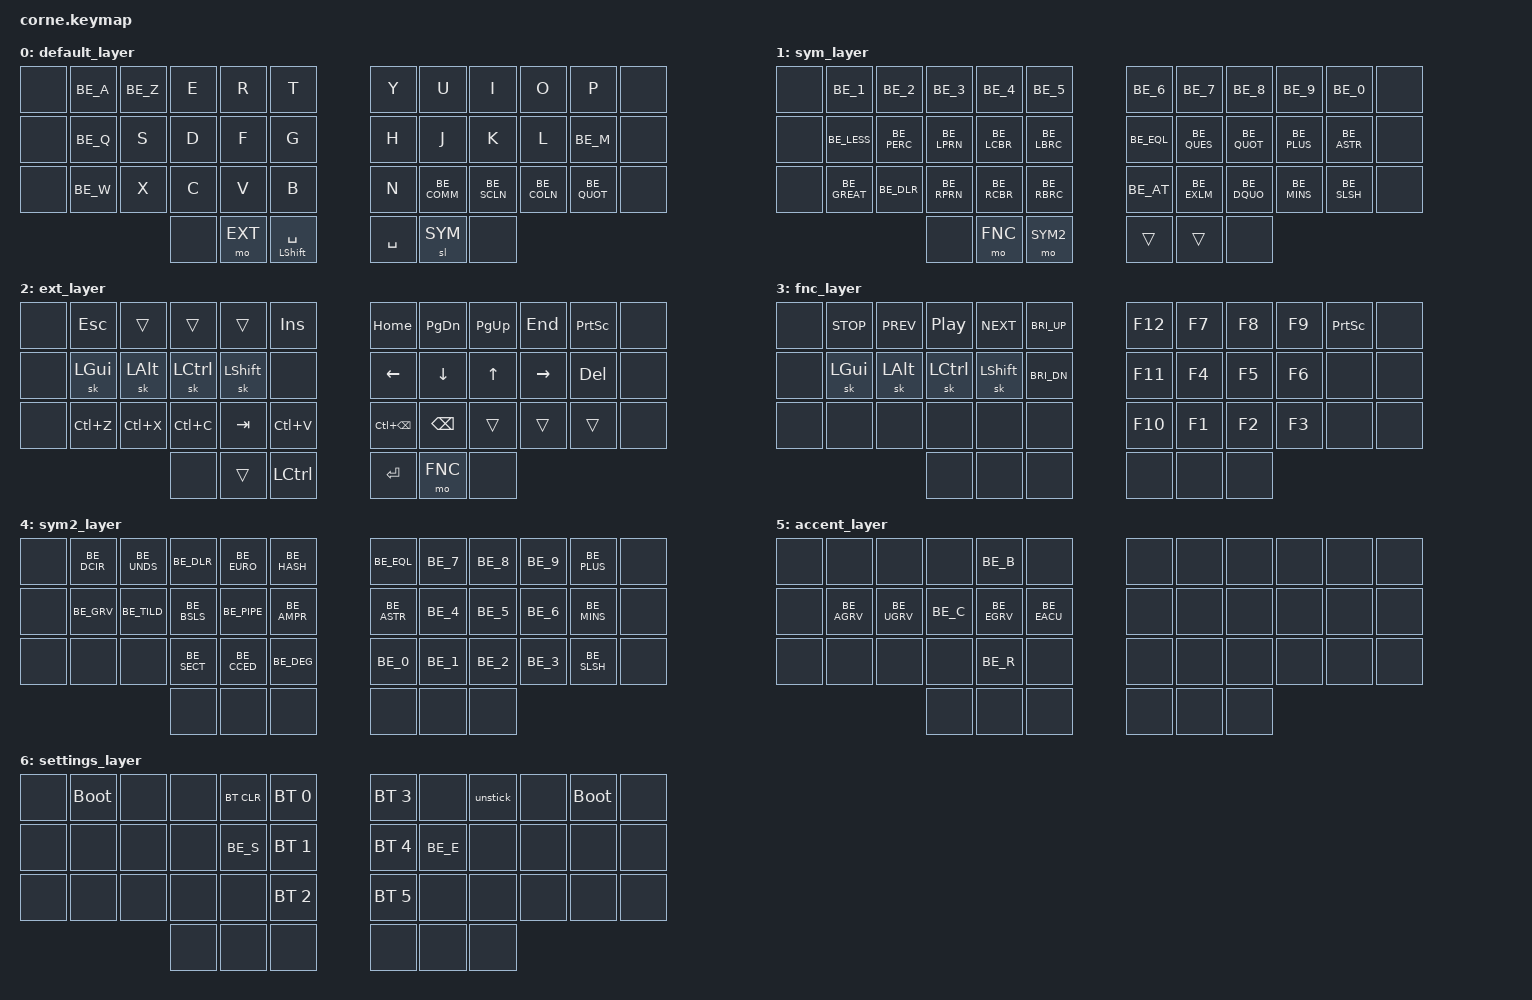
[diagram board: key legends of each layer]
/*
* Copyright (c) 2020 The ZMK Contributors
*

* SPDX-License-Identifier: MIT
*/

#include <behaviors.dtsi>
#include <dt-bindings/zmk/bt.h>
#include <dt-bindings/zmk/keys.h>
#include <dt-bindings/zmk/outputs.h>
#include "keymap_belgian.h"

// Layer definitions
    #define BASE 0
    #define SYM 1
    #define EXT 2
    #define FNC 3
    #define SYM2 4
    #define ACCENT 5
    #define SETTINGS 6
// -----------------

&mt {
   //  flavor = "tap-preferred";
   // tapping_term_ms = <200>;
};

&sk {
    ignore-modifiers;
};

/ {
    macros {
        // sometimes my device thinks a modifier is being held down
        // pressing all modifiers fixes it.
        unstick: unstick {
            label = "ZM_unstick";
            compatible = "zmk,behavior-macro";
            #binding-cells = <0>;
            bindings
                = <&kp LSHIFT &kp RSHIFT &kp LCTRL &kp RCTRL &kp LALT &kp RALT &kp LGUI &kp RGUI>;
        };
    };
        
    //conditional_layers {
    //    compatible = "zmk,conditional-layers";
    //    fnc_layer {
    //        if-layers = <SYM EXT>;
    //        then-layer = <FNC>;
    //    };
    //};
    
    combos {
        compatible = "zmk,combos";
        // both right thumb keys
        combo_accent {
            timeout-ms = <300>;
            key-positions = <40 41>;
            bindings = <&mo ACCENT>;
        };
        // internal-left & external-right thumb keys
        combo_sym2 {
              timeout-ms = <200>;
              key-positions = <39 41>;
              bindings = <&mo SYM2>;
        };
        // both left thumb keys
        combo_settings {
          timeout-ms = <300>;
          key-positions = <38 39>;
          bindings = <&mo SETTINGS>;
        };
    };

    keymap {
        compatible = "zmk,keymap";

        // Base alpha layer
        default_layer {
            bindings = <
            &none &kp BE_A &kp BE_Z &kp E &kp R &kp T        &kp Y &kp U  &kp I     &kp O   &kp P &none 
            &none &kp BE_Q &kp S &kp D &kp F &kp G           &kp H &kp J  &kp K     &kp L &kp BE_M   &none  
            &none &kp BE_W &kp X &kp C &kp V &kp B           &kp N &kp BE_COMM  &kp BE_SCLN &kp BE_COLN &kp BE_QUOT &none
                 &none &mo EXT &mt LSHIFT SPACE           &kp SPACE &sl SYM &none
            >;
        };

        sym_layer {
            bindings = <
            &none &kp BE_1 &kp BE_2 &kp BE_3 &kp BE_4 &kp BE_5                  &kp BE_6  &kp BE_7  &kp BE_8 &kp BE_9 &kp BE_0 &none
            &none &kp BE_LESS &kp BE_PERC &kp BE_LPRN &kp BE_LCBR &kp BE_LBRC         &kp BE_EQL &kp BE_QUES &kp BE_QUOT &kp BE_PLUS &kp BE_ASTR &none
            &none &kp BE_GREAT &kp BE_DLR  &kp BE_RPRN &kp BE_RCBR &kp BE_RBRC         &kp BE_AT &kp BE_EXLM &kp BE_DQUO &kp BE_MINS &kp BE_SLSH &none
                                                           &none  &mo FNC &mo SYM2       &trans &trans &none
            >;
        };

        // Main modifiers and arrow keys
        ext_layer {
            bindings = <
            &none &kp ESC  &trans &trans  &trans  &kp INSERT                    &kp HOME  &kp PG_DN &kp PG_UP &kp END &kp PSCRN &none 
            &none &sk LGUI &sk LALT  &sk LCTRL  &sk LSHIFT  &none               &kp LEFT &kp DOWN &kp UP &kp RIGHT &kp DEL &none
            &none &kp LC(Z)  &kp LC(X) &kp LC(C) &kp TAB  &kp LC(V)             &kp LC(BSPC) &kp BSPC &trans &trans &trans &none
                                                &none &trans &kp LCTRL          &kp ENTER  &mo FNC &none
            >;
        };

        // Function keys with modifiers
        fnc_layer {
            bindings = <
            &none &kp C_STOP &kp C_PREV &kp C_PP &kp C_NEXT &kp C_BRI_UP      &kp F12 &kp F7 &kp F8 &kp F9 &kp PSCRN &none
            &none &sk LGUI &sk LALT &sk LCTRL &sk LSHIFT &kp C_BRI_DN         &kp F11 &kp F4 &kp F5 &kp F6 &none &none
            &none &none &none &none &none &none                               &kp F10 &kp F1 &kp F2 &kp F3 &none &none
                                       &none &none &none              &none &none  &none
            >;
        };

        // Low frequency symbols.
        sym2_layer {
            bindings = <
            &none &kp BE_DCIR &kp BE_UNDS &kp BE_DLR &kp BE_EURO &kp BE_HASH     &kp BE_EQL &kp BE_7 &kp BE_8 &kp BE_9 &kp BE_PLUS  &none
            &none &kp BE_GRV &kp BE_TILD &kp BE_BSLS &kp BE_PIPE &kp BE_AMPR     &kp BE_ASTR &kp BE_4 &kp BE_5 &kp BE_6 &kp BE_MINS &none
            &none &none &none &kp BE_SECT &kp BE_CCED &kp BE_DEG                 &kp BE_0 &kp BE_1 &kp BE_2 &kp BE_3 &kp BE_SLSH &none
                                 &none &none &none                         &none &none &none
            >;
        };
        
        // Used to type regional accents.
        accent_layer {
          bindings = <
          &none &none &none &none &kp BE_B &none                      &none &none &none &none &none &none
          &none &kp BE_AGRV &kp BE_UGRV &kp BE_C &kp BE_EGRV &kp BE_EACU          &none &none &none &none &none &none
          &none &none &none &none &kp BE_R &none                      &none  &none &none &none &none &none
                           &none &none &none                         &none &none &none
          >;
      };

       // Used to change the keyboard's settings.
       settings_layer {
          bindings = <
          &none &bootloader &none &none &bt BT_CLR &bt BT_SEL 0               &bt BT_SEL 3 &none &unstick &none &bootloader &none
          &none &none &none &none &kp BE_S      &bt BT_SEL 1                     &bt BT_SEL 4 &kp BE_E &none &none &none &none
          &none &none &none &none &none      &bt BT_SEL 2               &bt BT_SEL 5 &none &none &none &none &none
                               &none &none &none                         &none &none &none
          >;
      };
    };
};
